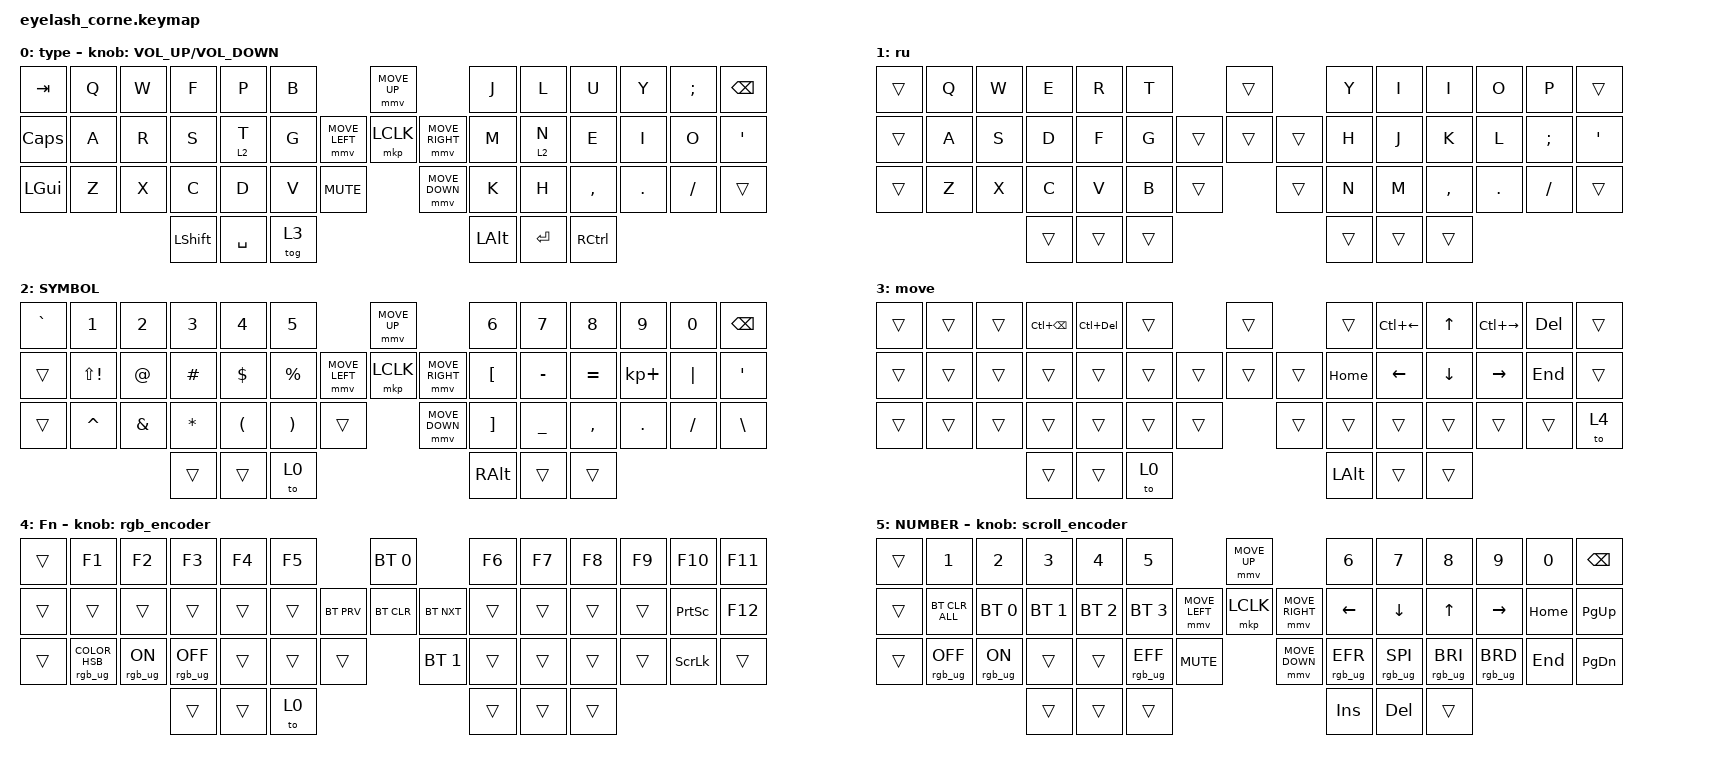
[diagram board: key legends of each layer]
#define ZMK_POINTING_DEFAULT_MOVE_VAL 1200  // 600
#define ZMK_POINTING_DEFAULT_SCRL_VAL 25   // 10

#include <input/processors.dtsi>
#include <zephyr/dt-bindings/input/input-event-codes.h>
#include <behaviors.dtsi>
#include <dt-bindings/zmk/bt.h>
#include <dt-bindings/zmk/keys.h>
#include <dt-bindings/zmk/pointing.h>
#include <dt-bindings/zmk/rgb.h>

&mmv_input_listener { input-processors = <&zip_xy_scaler 2 1>; };

&msc_input_listener { input-processors = <&zip_scroll_scaler 2 1>; };

&msc {
    acceleration-exponent = <1>;      // 0
    time-to-max-speed-ms = <100>;       // 300
    delay-ms = <0>;                   // 0
};

&mmv {
    time-to-max-speed-ms = <500>;
    acceleration-exponent = <1>;
    trigger-period-ms = <16>;
};

&soft_off { hold-time-ms = <2000>; };

/ {
    behaviors {
        td0: td0 {
            compatible = "zmk,behavior-tap-dance";
            display-name = "Shift/Caps Lock Tap Dance";
            #binding-cells = <0>;
            bindings = <&kp LEFT_SHIFT>, <&kp CAPS>;
        };
    };

    rgb_encoder: rgb_encoder {
        compatible = "zmk,behavior-sensor-rotate";
        #sensor-binding-cells = <0>;
        bindings = <&rgb_ug RGB_BRI>, <&rgb_ug RGB_BRD>;
    };

    scroll_encoder: scroll_encoder {
        compatible = "zmk,behavior-sensor-rotate";
        #sensor-binding-cells = <0>;
        bindings = <&msc SCRL_DOWN>, <&msc SCRL_UP>;

        tap-ms = <50>;
        label = "sound";
    };

    combos {
        compatible = "zmk,combos";

        l1 {
            bindings = <&to 2>;
            key-positions = <17 23>;
        };

        lan-switch {
            bindings = <&to 1>;
            key-positions = <43 28>;
        };
    };

    keymap {
        compatible = "zmk,keymap";

        eng {
            display-name = "type";
            bindings = <
&kp TAB       &kp Q  &kp W  &kp F           &kp P      &kp B                                 &mmv MOVE_UP                     &kp J         &kp L      &kp U              &kp Y    &kp SEMICOLON  &kp BSPC
&kp CAPSLOCK  &kp A  &kp R  &kp S           &lt 2 T    &kp G                 &mmv MOVE_LEFT  &mkp LCLK       &mmv MOVE_RIGHT  &kp M         &lt 2 N    &kp E              &kp I    &kp O          &kp SQT
&kp LEFT_GUI  &kp Z  &kp X  &kp C           &kp D      &kp V   &kp C_MUTE                    &mmv MOVE_DOWN                   &kp K         &kp H      &kp COMMA          &kp DOT  &kp FSLH       &trans
                            &kp LEFT_SHIFT  &kp SPACE  &tog 3                                                                 &kp LEFT_ALT  &kp ENTER  &kp RIGHT_CONTROL
            >;

            sensor-bindings = <&inc_dec_kp C_VOLUME_UP C_VOLUME_DOWN>;
        };

        ru {
            bindings = <
&trans  &kp Q  &kp W  &kp E   &kp R   &kp T                     &trans          &kp Y   &kp I   &kp I      &kp O    &kp P     &trans
&trans  &kp A  &kp S  &kp D   &kp F   &kp G             &trans  &trans  &trans  &kp H   &kp J   &kp K      &kp L    &kp SEMI  &kp APOS
&trans  &kp Z  &kp X  &kp C   &kp V   &kp B   &trans            &trans          &kp N   &kp M   &kp COMMA  &kp DOT  &kp FSLH  &trans
                      &trans  &trans  &trans                                    &trans  &trans  &trans
            >;
        };

        raise_layer {
            display-name = "SYMBOL";
            bindings = <
&kp GRAVE  &kp NUMBER_1         &kp NUMBER_2   &kp NUMBER_3  &kp NUMBER_4          &kp NUMBER_5                                     &mmv MOVE_UP                     &kp NUMBER_6       &kp NUMBER_7    &kp NUMBER_8  &kp NUMBER_9  &kp NUMBER_0  &kp BSPC
&trans     &kp LS(EXCLAMATION)  &kp AT         &kp HASH      &kp DOLLAR            &kp PERCENT                      &mmv MOVE_LEFT  &mkp LCLK       &mmv MOVE_RIGHT  &kp LEFT_BRACKET   &kp MINUS       &kp EQUAL     &kp KP_PLUS   &kp PIPE      &kp SINGLE_QUOTE
&trans     &kp CARET            &kp AMPERSAND  &kp ASTERISK  &kp LEFT_PARENTHESIS  &kp RIGHT_PARENTHESIS  &trans                    &mmv MOVE_DOWN                   &kp RIGHT_BRACKET  &kp UNDERSCORE  &kp COMMA     &kp DOT       &kp SLASH     &kp BACKSLASH
                                               &trans        &trans                &to 0                                                                             &kp RIGHT_ALT      &trans          &trans
            >;
        };

        movement {
            bindings = <
&trans  &trans  &trans  &kp LC(BACKSPACE)  &kp LC(DELETE)  &trans                    &trans          &trans        &kp LC(LEFT)  &kp UP_ARROW  &kp LC(RIGHT)  &kp DELETE  &trans
&trans  &trans  &trans  &trans             &trans          &trans            &trans  &trans  &trans  &kp HOME      &kp LEFT      &kp DOWN      &kp RIGHT      &kp END     &trans
&trans  &trans  &trans  &trans             &trans          &trans  &trans            &trans          &trans        &trans        &trans        &trans         &trans      &to 4
                        &trans             &trans          &to 0                                     &kp LEFT_ALT  &trans        &trans
            >;

            label = "move";
        };

        layer_3 {
            display-name = "Fn";
            bindings = <
&trans  &kp F1                         &kp F2          &kp F3           &kp F4  &kp F5                        &bt BT_SEL 0              &kp F6  &kp F7  &kp F8  &kp F9  &kp F10          &kp F11
&trans  &trans                         &trans          &trans           &trans  &trans            &bt BT_PRV  &bt BT_CLR    &bt BT_NXT  &trans  &trans  &trans  &trans  &kp PRINTSCREEN  &kp F12
&trans  &rgb_ug RGB_COLOR_HSB(0,0,59)  &rgb_ug RGB_ON  &rgb_ug RGB_OFF  &trans  &trans  &trans                &bt BT_SEL 1              &trans  &trans  &trans  &trans  &kp SCROLLLOCK   &trans
                                                       &trans           &trans  &to 0                                                   &trans  &trans  &trans
            >;

            sensor-bindings = <&rgb_encoder>;
        };

        lower_layer {
            display-name = "NUMBER";
            bindings = <
&trans  &kp N1           &kp N2          &kp N3        &kp N4        &kp N5                                         &mmv MOVE_UP                     &kp N6           &kp N7           &kp N8           &kp N9           &kp N0    &kp BSPC
&trans  &bt BT_CLR_ALL   &bt BT_SEL 0    &bt BT_SEL 1  &bt BT_SEL 2  &bt BT_SEL 3                   &mmv MOVE_LEFT  &mkp LCLK       &mmv MOVE_RIGHT  &kp LEFT         &kp DOWN         &kp UP           &kp RIGHT        &kp HOME  &kp PG_UP
&trans  &rgb_ug RGB_OFF  &rgb_ug RGB_ON  &trans        &trans        &rgb_ug RGB_EFF  &kp C_MUTE                    &mmv MOVE_DOWN                   &rgb_ug RGB_EFR  &rgb_ug RGB_SPI  &rgb_ug RGB_BRI  &rgb_ug RGB_BRD  &kp END   &kp PG_DN
                                         &trans        &trans        &trans                                                                          &kp INS          &kp DEL          &trans
            >;

            sensor-bindings = <&scroll_encoder>;
        };
    };
};
